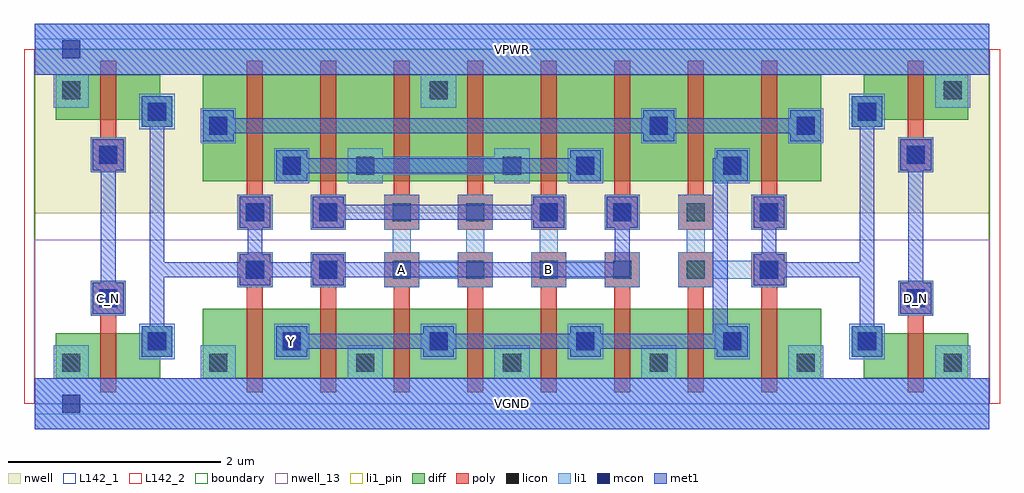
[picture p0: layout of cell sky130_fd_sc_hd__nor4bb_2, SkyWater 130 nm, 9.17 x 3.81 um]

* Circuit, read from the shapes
.subckt sky130_fd_sc_hd__nor4bb_2 A B C_N D_N VGND VPWR Y
XM1 n1 C_N VGND VSUBS sky130_fd_pr__nfet_01v8 w=0.42 l=0.15
XM2 Y n1 VGND VSUBS sky130_fd_pr__nfet_01v8 w=0.65 l=0.15 m=2
XM3 Y A VGND VSUBS sky130_fd_pr__nfet_01v8 w=0.65 l=0.15 m=2
XM4 Y B VGND VSUBS sky130_fd_pr__nfet_01v8 w=0.65 l=0.15 m=2
XM5 Y n2 VGND VSUBS sky130_fd_pr__nfet_01v8 w=0.65 l=0.15 m=2
XM6 VGND D_N n2 VSUBS sky130_fd_pr__nfet_01v8 w=0.42 l=0.15
XM7 n1 C_N VPWR n3 sky130_fd_pr__pfet_01v8 w=0.42 l=0.15
XM8 n4 n1 n5 n3 sky130_fd_pr__pfet_01v8 w=1 l=0.15 m=2
XM9 n6 B n4 n3 sky130_fd_pr__pfet_01v8 w=1 l=0.15 m=2
XM10 VPWR A n6 n3 sky130_fd_pr__pfet_01v8 w=1 l=0.15 m=2
XM11 Y n2 n5 n3 sky130_fd_pr__pfet_01v8 w=1 l=0.15 m=2
XM12 VPWR D_N n2 n3 sky130_fd_pr__pfet_01v8 w=0.42 l=0.15
.ends

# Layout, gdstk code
import gdstk
lib = gdstk.Library(unit=1e-6, precision=1e-09)
def R(c, l, rs):  # rectangles x0, y0, x1, y1
    for r in rs: c.add(gdstk.rectangle(r[:2], r[2:], *l))
def A(c, l, x, y, w, h, nx, ny, dx, dy):  # array of equal rectangles
    R(c, l, [(x+i*dx, y+j*dy, x+i*dx+w, y+j*dy+h) for i in range(nx) for j in range(ny)])
def P(c, l, *ps):  # polygons
    for p in ps: c.add(gdstk.Polygon(p, *l))
nwell_13 = (64, 13)
nwell = (64, 20)
diff = (65, 20)
poly = (66, 20)
licon = (66, 44)
li1_pin = (67, 16)
li1 = (67, 20)
mcon = (67, 44)
met1 = (68, 20)
L142_1 = (142, 1)
L142_2 = (142, 2)
boundary = (235, 4)

sky130_fd_sc_hd__nor4bb_ = lib.new_cell('sky130_fd_sc_hd__nor4bb_2')
R(sky130_fd_sc_hd__nor4bb_, nwell_13, [(0,0,8.97,1.54)])
R(sky130_fd_sc_hd__nor4bb_, nwell, [(0,1.79,8.97,3.33)])
A(sky130_fd_sc_hd__nor4bb_, diff, 1.995, 0.24, 0.69, 0.65, 7, 1, 0.69, 0)
A(sky130_fd_sc_hd__nor4bb_, diff, 1.995, 2.09, 0.69, 1, 7, 1, 0.69, 0)
R(sky130_fd_sc_hd__nor4bb_, diff, [(0.2,0.24,1.18,0.66), (0.2,0.24,0.615,0.66), (1.58,0.24,7.39,0.89), (1.58,0.24,1.995,0.89), (6.825,0.24,7.39,0.89), (7.79,0.24,8.77,0.66), (8.205,0.24,8.77,0.66), (1.58,2.09,7.39,3.09), (1.58,2.09,1.995,3.09), (6.825,2.09,7.39,3.09), (0.2,2.67,1.18,3.09), (0.2,2.67,0.615,3.09), (7.79,2.67,8.77,3.09), (8.205,2.67,8.77,3.09)])
P(sky130_fd_sc_hd__nor4bb_, diff, [(7.79,0.24),(7.79,0.44),(7.675,0.44),(7.675,0.73),(7.965,0.73),(7.965,0.66),(8.205,0.66),(8.205,0.24)],
  [(0.615,0.24),(0.615,0.66),(1.005,0.66),(1.005,0.73),(1.295,0.73),(1.295,0.44),(1.18,0.44),(1.18,0.24)],
  [(7.675,2.6),(7.675,2.89),(7.79,2.89),(7.79,3.09),(8.205,3.09),(8.205,2.67),(7.965,2.67),(7.965,2.6)],
  [(1.005,2.6),(1.005,2.67),(0.615,2.67),(0.615,3.09),(1.18,3.09),(1.18,2.89),(1.295,2.89),(1.295,2.6)])
P(sky130_fd_sc_hd__nor4bb_, poly, [(4.755,0.11),(4.755,1.095),(4.665,1.095),(4.665,1.425),(4.995,1.425),(4.995,1.095),(4.905,1.095),(4.905,0.11)],
  [(5.445,0.11),(5.445,1.095),(5.355,1.095),(5.355,1.425),(5.685,1.425),(5.685,1.095),(5.595,1.095),(5.595,0.11)],
  [(2.595,1.635),(2.595,1.965),(2.685,1.965),(2.685,3.22),(2.835,3.22),(2.835,1.965),(2.925,1.965),(2.925,1.635)],
  [(4.665,1.635),(4.665,1.965),(4.755,1.965),(4.755,3.22),(4.905,3.22),(4.905,1.965),(4.995,1.965),(4.995,1.635)],
  [(6.135,0.11),(6.135,1.095),(6.045,1.095),(6.045,1.425),(6.375,1.425),(6.375,1.095),(6.285,1.095),(6.285,0.11)],
  [(6.825,0.11),(6.825,1.095),(6.735,1.095),(6.735,1.425),(7.065,1.425),(7.065,1.095),(6.975,1.095),(6.975,0.11)],
  [(6.045,1.635),(6.045,1.965),(6.135,1.965),(6.135,3.22),(6.285,3.22),(6.285,1.965),(6.375,1.965),(6.375,1.635)],
  [(6.735,1.635),(6.735,1.965),(6.825,1.965),(6.825,3.22),(6.975,3.22),(6.975,1.965),(7.065,1.965),(7.065,1.635)],
  [(8.205,0.11),(8.205,0.825),(8.115,0.825),(8.115,1.155),(8.445,1.155),(8.445,0.825),(8.355,0.825),(8.355,0.11)],
  [(8.115,2.175),(8.115,2.505),(8.205,2.505),(8.205,3.22),(8.355,3.22),(8.355,2.505),(8.445,2.505),(8.445,2.175)],
  [(1.995,0.11),(1.995,1.095),(1.905,1.095),(1.905,1.425),(2.235,1.425),(2.235,1.095),(2.145,1.095),(2.145,0.11)],
  [(2.685,0.11),(2.685,1.095),(2.595,1.095),(2.595,1.425),(2.925,1.425),(2.925,1.095),(2.835,1.095),(2.835,0.11)],
  [(1.905,1.635),(1.905,1.965),(1.995,1.965),(1.995,3.22),(2.145,3.22),(2.145,1.965),(2.235,1.965),(2.235,1.635)],
  [(5.355,1.635),(5.355,1.965),(5.445,1.965),(5.445,3.22),(5.595,3.22),(5.595,1.965),(5.685,1.965),(5.685,1.635)],
  [(3.375,0.11),(3.375,1.095),(3.285,1.095),(3.285,1.425),(3.615,1.425),(3.615,1.095),(3.525,1.095),(3.525,0.11)],
  [(4.065,0.11),(4.065,1.095),(3.975,1.095),(3.975,1.425),(4.305,1.425),(4.305,1.095),(4.215,1.095),(4.215,0.11)],
  [(3.285,1.635),(3.285,1.965),(3.375,1.965),(3.375,3.22),(3.525,3.22),(3.525,1.965),(3.615,1.965),(3.615,1.635)],
  [(3.975,1.635),(3.975,1.965),(4.065,1.965),(4.065,3.22),(4.215,3.22),(4.215,1.965),(4.305,1.965),(4.305,1.635)],
  [(0.615,0.11),(0.615,0.825),(0.525,0.825),(0.525,1.155),(0.855,1.155),(0.855,0.825),(0.765,0.825),(0.765,0.11)],
  [(0.525,2.175),(0.525,2.505),(0.615,2.505),(0.615,3.22),(0.765,3.22),(0.765,2.505),(0.855,2.505),(0.855,2.175)])
A(sky130_fd_sc_hd__nor4bb_, licon, 0.26, 0.3, 0.17, 0.17, 7, 1, 1.38, 0)
A(sky130_fd_sc_hd__nor4bb_, licon, 2.33, 0.5, 0.17, 0.17, 4, 1, 1.38, 0)
A(sky130_fd_sc_hd__nor4bb_, licon, 1.985, 1.175, 0.17, 0.17, 8, 2, 0.69, 0.54)
R(sky130_fd_sc_hd__nor4bb_, licon, [(1.065,0.5,1.235,0.67), (7.735,0.5,7.905,0.67), (0.605,0.905,0.775,1.075), (8.195,0.905,8.365,1.075), (2.33,2.15,2.5,2.32), (3.02,2.15,3.19,2.32), (4.4,2.15,4.57,2.32), (5.09,2.15,5.26,2.32), (6.47,2.15,6.64,2.32), (0.605,2.255,0.775,2.425), (8.195,2.255,8.365,2.425), (1.64,2.525,1.81,2.695), (5.78,2.525,5.95,2.695), (7.16,2.525,7.33,2.695), (1.065,2.66,1.235,2.83), (7.735,2.66,7.905,2.83), (0.26,2.86,0.43,3.03), (3.71,2.86,3.88,3.03), (8.54,2.86,8.71,3.03)])
R(sky130_fd_sc_hd__nor4bb_, li1_pin, [(0,-0.24,8.97,0.24), (2.25,0.42,2.58,0.75), (0.525,0.825,0.855,1.155), (8.115,0.825,8.445,1.155), (0,3.09,8.97,3.57)])
P(sky130_fd_sc_hd__nor4bb_, li1_pin, [(3.285,1.095),(3.285,1.425),(3.365,1.425),(3.365,1.635),(3.285,1.635),(3.285,1.965),(3.615,1.965),(3.615,1.635),(3.535,1.635),(3.535,1.425),(3.615,1.425),(3.615,1.345),(3.975,1.345),(3.975,1.425),(4.055,1.425),(4.055,1.635),(3.975,1.635),(3.975,1.965),(4.305,1.965),(4.305,1.635),(4.225,1.635),(4.225,1.425),(4.305,1.425),(4.305,1.095),(3.975,1.095),(3.975,1.175),(3.615,1.175),(3.615,1.095)],
  [(4.665,1.095),(4.665,1.425),(4.745,1.425),(4.745,1.635),(4.665,1.635),(4.665,1.965),(4.995,1.965),(4.995,1.635),(4.915,1.635),(4.915,1.425),(4.995,1.425),(4.995,1.345),(5.355,1.345),(5.355,1.425),(5.685,1.425),(5.685,1.095),(5.355,1.095),(5.355,1.175),(4.995,1.175),(4.995,1.095)])
A(sky130_fd_sc_hd__nor4bb_, li1, 2.25, 0.42, 0.33, 0.33, 4, 1, 1.38, 0)
R(sky130_fd_sc_hd__nor4bb_, li1, [(0.985,0.42,1.315,0.75), (7.655,0.42,7.985,0.75), (0.525,0.825,0.855,1.155), (8.115,0.825,8.445,1.155), (1.905,1.095,2.235,1.425), (2.595,1.095,2.925,1.425), (1.905,1.635,2.235,1.965), (2.595,1.635,2.925,1.965), (5.355,1.635,5.685,1.965), (6.735,1.635,7.065,1.965), (2.25,2.07,2.58,2.4), (5.01,2.07,5.34,2.4), (6.39,2.07,6.72,2.4), (0.525,2.175,0.855,2.505), (8.115,2.175,8.445,2.505), (1.56,2.445,1.89,2.775), (5.7,2.445,6.03,2.775), (7.08,2.445,7.41,2.775), (0.985,2.58,1.315,2.91), (7.655,2.58,7.985,2.91)])
P(sky130_fd_sc_hd__nor4bb_, li1, [(4.665,1.095),(4.665,1.425),(4.745,1.425),(4.745,1.635),(4.665,1.635),(4.665,1.965),(4.995,1.965),(4.995,1.635),(4.915,1.635),(4.915,1.425),(4.995,1.425),(4.995,1.345),(5.355,1.345),(5.355,1.425),(5.685,1.425),(5.685,1.095),(5.355,1.095),(5.355,1.175),(4.995,1.175),(4.995,1.095)],
  [(6.045,1.095),(6.045,1.425),(6.125,1.425),(6.125,1.635),(6.045,1.635),(6.045,1.965),(6.375,1.965),(6.375,1.635),(6.295,1.635),(6.295,1.425),(6.375,1.425),(6.375,1.345),(6.735,1.345),(6.735,1.425),(7.065,1.425),(7.065,1.095),(6.735,1.095),(6.735,1.175),(6.375,1.175),(6.375,1.095)],
  [(0.18,2.78),(0.18,3.09),(0,3.09),(0,3.57),(8.97,3.57),(8.97,3.09),(8.79,3.09),(8.79,2.78),(8.46,2.78),(8.46,3.09),(3.96,3.09),(3.96,2.78),(3.63,2.78),(3.63,3.09),(0.51,3.09),(0.51,2.78)],
  [(2.94,2.07),(2.94,2.4),(3.27,2.4),(3.27,2.32),(4.32,2.32),(4.32,2.4),(4.65,2.4),(4.65,2.07),(4.32,2.07),(4.32,2.15),(3.27,2.15),(3.27,2.07)],
  [(0,-0.24),(0,0.24),(0.18,0.24),(0.18,0.55),(0.51,0.55),(0.51,0.24),(1.56,0.24),(1.56,0.55),(1.89,0.55),(1.89,0.24),(2.94,0.24),(2.94,0.55),(3.27,0.55),(3.27,0.24),(4.32,0.24),(4.32,0.55),(4.65,0.55),(4.65,0.24),(5.7,0.24),(5.7,0.55),(6.03,0.55),(6.03,0.24),(7.08,0.24),(7.08,0.55),(7.41,0.55),(7.41,0.24),(8.46,0.24),(8.46,0.55),(8.79,0.55),(8.79,0.24),(8.97,0.24),(8.97,-0.24)],
  [(3.285,1.095),(3.285,1.425),(3.365,1.425),(3.365,1.635),(3.285,1.635),(3.285,1.965),(3.615,1.965),(3.615,1.635),(3.535,1.635),(3.535,1.425),(3.615,1.425),(3.615,1.345),(3.975,1.345),(3.975,1.425),(4.055,1.425),(4.055,1.635),(3.975,1.635),(3.975,1.965),(4.305,1.965),(4.305,1.635),(4.225,1.635),(4.225,1.425),(4.305,1.425),(4.305,1.095),(3.975,1.095),(3.975,1.175),(3.615,1.175),(3.615,1.095)])
A(sky130_fd_sc_hd__nor4bb_, mcon, 2.33, 0.5, 0.17, 0.17, 4, 1, 1.38, 0)
R(sky130_fd_sc_hd__nor4bb_, mcon, [(0.26,-0.085,0.43,0.085), (1.065,0.5,1.235,0.67), (7.735,0.5,7.905,0.67), (0.605,0.905,0.775,1.075), (8.195,0.905,8.365,1.075), (1.985,1.175,2.155,1.345), (2.675,1.175,2.845,1.345), (6.815,1.175,6.985,1.345), (1.985,1.715,2.155,1.885), (2.675,1.715,2.845,1.885), (4.745,1.715,4.915,1.885), (5.435,1.715,5.605,1.885), (6.815,1.715,6.985,1.885), (2.33,2.15,2.5,2.32), (5.09,2.15,5.26,2.32), (6.47,2.15,6.64,2.32), (0.605,2.255,0.775,2.425), (8.195,2.255,8.365,2.425), (1.64,2.525,1.81,2.695), (5.78,2.525,5.95,2.695), (7.16,2.525,7.33,2.695), (1.065,2.66,1.235,2.83), (7.735,2.66,7.905,2.83), (0.26,3.245,0.43,3.415)])
R(sky130_fd_sc_hd__nor4bb_, met1, [(0,-0.24,8.97,0.24), (0,3.09,8.97,3.57)])
P(sky130_fd_sc_hd__nor4bb_, met1, [(2.615,1.655),(2.615,1.945),(2.905,1.945),(2.905,1.87),(4.685,1.87),(4.685,1.945),(4.975,1.945),(4.975,1.655),(4.685,1.655),(4.685,1.73),(2.905,1.73),(2.905,1.655)],
  [(2.27,0.44),(2.27,0.73),(2.56,0.73),(2.56,0.655),(3.65,0.655),(3.65,0.73),(3.94,0.73),(3.94,0.655),(5.03,0.655),(5.03,0.73),(5.32,0.73),(5.32,0.655),(6.37,0.655),(6.37,2.305),(6.41,2.305),(6.41,2.38),(6.7,2.38),(6.7,2.09),(6.51,2.09),(6.51,0.73),(6.7,0.73),(6.7,0.44),(6.41,0.44),(6.41,0.515),(5.32,0.515),(5.32,0.44),(5.03,0.44),(5.03,0.515),(3.94,0.515),(3.94,0.44),(3.65,0.44),(3.65,0.515),(2.56,0.515),(2.56,0.44)],
  [(7.675,0.44),(7.675,0.73),(7.75,0.73),(7.75,1.19),(7.045,1.19),(7.045,1.115),(6.755,1.115),(6.755,1.405),(6.83,1.405),(6.83,1.655),(6.755,1.655),(6.755,1.945),(7.045,1.945),(7.045,1.655),(6.97,1.655),(6.97,1.405),(7.045,1.405),(7.045,1.33),(7.75,1.33),(7.75,2.6),(7.675,2.6),(7.675,2.89),(7.965,2.89),(7.965,2.6),(7.89,2.6),(7.89,0.73),(7.965,0.73),(7.965,0.44)],
  [(1.58,2.465),(1.58,2.755),(1.87,2.755),(1.87,2.68),(5.72,2.68),(5.72,2.755),(6.01,2.755),(6.01,2.68),(7.1,2.68),(7.1,2.755),(7.39,2.755),(7.39,2.465),(7.1,2.465),(7.1,2.54),(6.01,2.54),(6.01,2.465),(5.72,2.465),(5.72,2.54),(1.87,2.54),(1.87,2.465)],
  [(8.135,0.845),(8.135,1.135),(8.21,1.135),(8.21,2.195),(8.135,2.195),(8.135,2.485),(8.425,2.485),(8.425,2.195),(8.35,2.195),(8.35,1.135),(8.425,1.135),(8.425,0.845)],
  [(1.005,0.44),(1.005,0.73),(1.08,0.73),(1.08,2.6),(1.005,2.6),(1.005,2.89),(1.295,2.89),(1.295,2.6),(1.22,2.6),(1.22,1.33),(1.925,1.33),(1.925,1.405),(2,1.405),(2,1.655),(1.925,1.655),(1.925,1.945),(2.215,1.945),(2.215,1.655),(2.14,1.655),(2.14,1.405),(2.215,1.405),(2.215,1.33),(2.615,1.33),(2.615,1.405),(2.905,1.405),(2.905,1.33),(5.45,1.33),(5.45,1.655),(5.375,1.655),(5.375,1.945),(5.665,1.945),(5.665,1.655),(5.59,1.655),(5.59,1.19),(2.905,1.19),(2.905,1.115),(2.615,1.115),(2.615,1.19),(2.215,1.19),(2.215,1.115),(1.925,1.115),(1.925,1.19),(1.22,1.19),(1.22,0.73),(1.295,0.73),(1.295,0.44)],
  [(2.27,2.09),(2.27,2.38),(2.56,2.38),(2.56,2.305),(5.03,2.305),(5.03,2.38),(5.32,2.38),(5.32,2.09),(5.03,2.09),(5.03,2.165),(2.56,2.165),(2.56,2.09)],
  [(0.545,0.845),(0.545,1.135),(0.62,1.135),(0.62,2.195),(0.545,2.195),(0.545,2.485),(0.835,2.485),(0.835,2.195),(0.76,2.195),(0.76,1.135),(0.835,1.135),(0.835,0.845)])
R(sky130_fd_sc_hd__nor4bb_, L142_1, [(0,-0.1,8.97,0), (0,3.33,8.97,3.43)])
R(sky130_fd_sc_hd__nor4bb_, L142_2, [(-0.1,0,0,3.33), (8.97,0,9.07,3.33)])
R(sky130_fd_sc_hd__nor4bb_, boundary, [(0,0,8.97,3.33)])
sky130_fd_sc_hd__nor4bb_.add(gdstk.Label('Y', (2.415,0.585), layer=67, texttype=5))
sky130_fd_sc_hd__nor4bb_.add(gdstk.Label('C_N', (0.69,0.99), layer=67, texttype=5))
sky130_fd_sc_hd__nor4bb_.add(gdstk.Label('A', (3.45,1.26), layer=67, texttype=5))
sky130_fd_sc_hd__nor4bb_.add(gdstk.Label('D_N', (8.28,0.99), layer=67, texttype=5))
sky130_fd_sc_hd__nor4bb_.add(gdstk.Label('B', (4.83,1.26), layer=67, texttype=5))
sky130_fd_sc_hd__nor4bb_.add(gdstk.Label('VGND', (4.485,0), layer=67, texttype=5))
sky130_fd_sc_hd__nor4bb_.add(gdstk.Label('VPWR', (4.485,3.33), layer=67, texttype=5))
sky130_fd_sc_hd__nor4bb_.add(gdstk.Label('VGND', (4.485,0), layer=68, texttype=5))
sky130_fd_sc_hd__nor4bb_.add(gdstk.Label('VPWR', (4.485,3.33), layer=68, texttype=5))

lib.write_gds('sky130_fd_sc_hd__nor4bb_2.gds')
